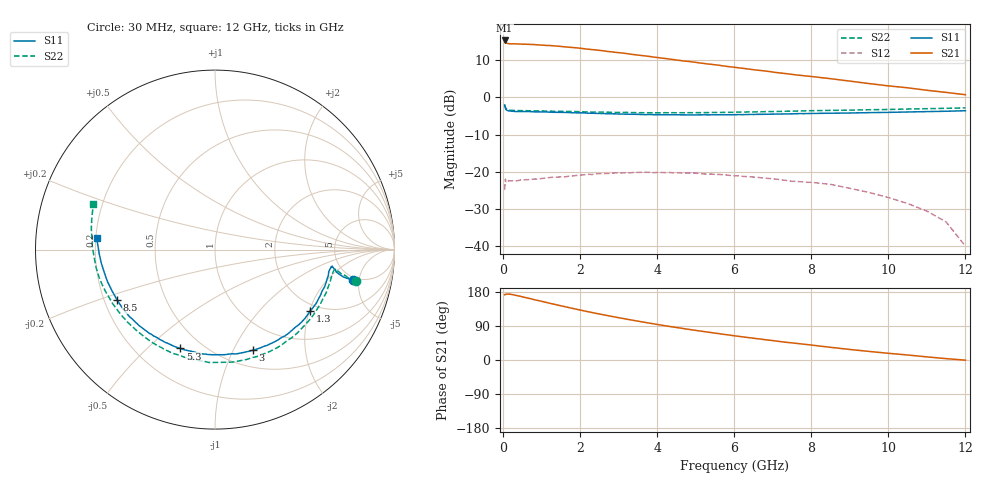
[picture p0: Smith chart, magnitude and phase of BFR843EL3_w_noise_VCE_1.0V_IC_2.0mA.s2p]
! Infineon Technologies  Discrete & RF Semiconductors
! BFR843EL3
! VCE =  1.0 V,  IC =  2.0 mA
! Common Emitter S-Parameters:  Aug 2013
# GHz  S  MA  R  50
!  f  S11  S21  S12  S22
! GHz  MAG  ANG  MAG  ANG  MAG  ANG  MAG  ANG
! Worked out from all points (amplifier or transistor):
!   103 points, 30 MHz to 12 GHz, reference 50 ohm
!   highest |S21| = 15.4 dB at 30 MHz (marker M1)
!   |S21| within 3 dB of that: start of sweep to 2.741 GHz
!   unconditionally stable (mu >= 1): 165.2 MHz to 482.6 MHz; 7.253 GHz to end of sweep
!   at 400 MHz: K = 1.01, MAG = 17.9 dB, |S12| = -22.4 dB
!   at 3.7 GHz: K = 0.72, MSG = 15.7 dB, |S12| = -20.2 dB
!   at 12 GHz: K = 12.05, MAG = 6.6 dB, |S12| = -40.1 dB
!   lowest NFmin = 1.16 dB at 900 MHz
!   S11 on the Smith chart (normalised r, x): 30 MHz: 4.61, -4.14; 1.3 GHz: 1.79, -2.03; 3 GHz: 0.68, -1.19; 5.3 GHz: 0.38, -0.64; 8.5 GHz: 0.25, -0.23; 12 GHz: 0.20, +0.05
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0.03  0.7878 -12.5  5.874 172.0  0.0571 37.4  0.8052 -12.5
0.05  0.7302 -12.0  5.602 173.3  0.0795 32.0  0.7381 -11.2
0.06  0.6944 -10.8  5.498 173.0  0.0745 17.9  0.7184 -11.0
0.08  0.6806 -9.5  5.396 173.9  0.0732 15.9  0.6975 -10.1
0.15  0.6597 -8.1  5.292 174.0  0.0753 10.8  0.6761 -9.4
0.7  0.6449 -18.7  5.193 161.8  0.0782 4.3  0.661 -24.3
1.3  0.6319 -32.7  4.973 147.5  0.0844 4.2  0.6525 -42.8
1.8  0.6222 -44.2  4.719 136.1  0.0876 2.4  0.6472 -57.5
2.1  0.6191 -50.9  4.538 129.5  0.0909 1.3  0.6403 -65.9
2.6  0.6073 -61.6  4.263 119.2  0.0946 -2.7  0.6345 -78.7
3  0.5988 -69.5  4.019 111.5  0.096 -5.1  0.6288 -88.3
3.6  0.588 -80.8  3.675 100.6  0.0981 -10.9  0.6239 -101.4
4.1  0.5861 -89.7  3.4 92.1  0.0976 -14.7  0.623 -111.0
4.7  0.5838 -100.1  3.097 82.5  0.0959 -19.7  0.6239 -121.9
5.3  0.5838 -109.3  2.832 73.7  0.0927 -24.6  0.6256 -131.4
6.1  0.5877 -121.3  2.516 62.6  0.0877 -30.7  0.6351 -143.1
7.3  0.5999 -137.7  2.108 47.2  0.0767 -40.4  0.6513 -158.2
8.5  0.6136 -152.6  1.792 33.4  0.0674 -49.9  0.6703 -171.7
9.5  0.625 -163.4  1.54 22.6  0.0524 -59.0  0.6837 178.7
10.5  0.6377 -173.1  1.351 13.2  0.0372 -68.9  0.6991 170.3
11.5  0.6526 178.1  1.171 3.6  0.021 -80.1  0.7151 162.6
12  0.663 174.3  1.09 -0.4  0.0099 -78.0  0.7244 159.3
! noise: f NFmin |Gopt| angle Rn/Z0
0.45  1.17  0.35  5  0.32
0.9  1.16  0.34  17  0.3
1.5  1.18  0.35  28  0.27
1.9  1.2  0.35  33  0.26
2.4  1.23  0.36  42  0.25
3.5  1.3  0.35  65  0.22
5.5  1.47  0.37  100  0.18
8  1.7  0.43  142  0.11
10  1.88  0.46  196  0.08
